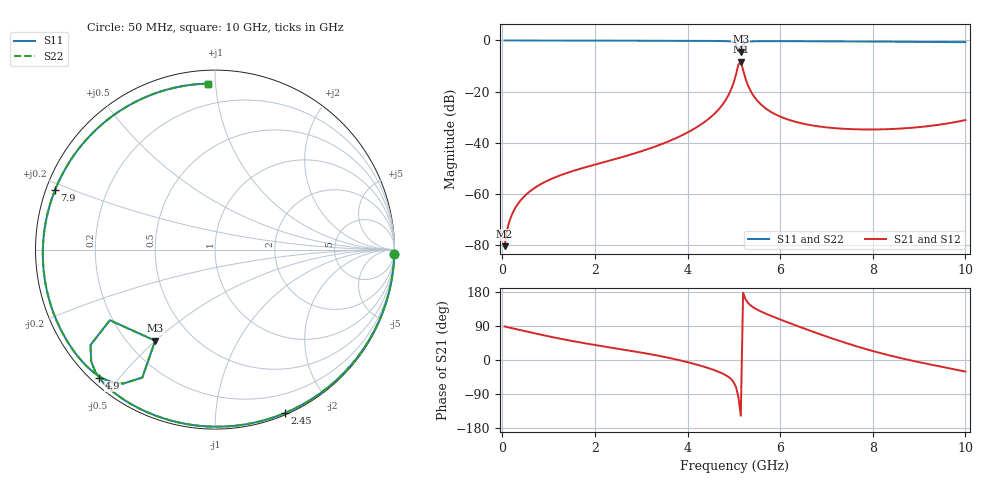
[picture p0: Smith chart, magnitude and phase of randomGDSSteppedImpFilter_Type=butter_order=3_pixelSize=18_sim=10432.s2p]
! freq	dB(S11)	phase(S11)	dB(S12)	phase(S12)
!  dB(S21)	phase(S21)	dB(S22)	phase(S22)
!S-par simulation data
#  GHz  S  DB  R 50
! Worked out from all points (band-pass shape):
!   200 points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, 50 MHz to 10 GHz, reference 50 ohm
!   highest |S21| = -8.31 dB at 5.15 GHz (marker M1); lowest = -80.5 dB at 50 MHz (marker M2)
!   |S21| within 3 dB of the highest: 5.074 GHz to 5.197 GHz (123 MHz wide, 2.4 % of centre)
!   lowest |S11| = -4.3 dB at 5.15 GHz (marker M3), VSWR 4.09, Z = 15.5 - j24.9 ohm
!   |S11| at or under -10 dB: nowhere
!   |S22| runs from -4.3 to 0.0 dB; largest |S21 - S12| = 0
!   S11 on the Smith chart (normalised r, x): 50 MHz: 1, -80; 2.45 GHz: 0.02, -1.52; 4.9 GHz: 0.02, -0.45; 7.9 GHz: 0.03, +0.18; 10 GHz: 0.07, +0.96
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0.05  -0.00 -1.4  -80.50 88.4  -80.50 88.4  -0.00 -1.4
0.1  -0.01 -2.8  -74.48 87.1  -74.48 87.1  -0.01 -2.8
0.2  -0.01 -5.7  -68.47 84.3  -68.47 84.3  -0.01 -5.7
0.5  -0.02 -14.1  -60.56 75.8  -60.56 75.8  -0.02 -14.1
1  -0.03 -28.0  -54.67 62.5  -54.67 62.5  -0.03 -28.0
1.75  -0.06 -48.4  -49.85 44.8  -49.85 44.8  -0.06 -48.4
2.45  -0.08 -66.9  -46.36 30.6  -46.36 30.6  -0.08 -66.8
3.4  -0.12 -91.1  -40.85 10.6  -40.85 10.6  -0.12 -91.1
4.4  -0.17 -116.3  -31.48 -19.4  -31.48 -19.4  -0.17 -116.3
4.9  -0.33 -132.0  -20.84 -46.2  -20.84 -46.2  -0.33 -132.0
5.05  -1.18 -142.6  -13.09 -72.5  -13.09 -72.5  -1.17 -142.5
5.1  -3.03 -146.1  -9.36 -99.5  -9.36 -99.5  -3.03 -146.1
5.15  -4.34 -123.3  -8.31 -147.2  -8.31 -147.2  -4.33 -123.3
5.2  -1.73 -119.6  -11.51 177.6  -11.51 177.6  -1.73 -119.6
5.25  -0.86 -124.5  -14.79 160.9  -14.79 160.9  -0.86 -124.5
5.4  -0.37 -133.1  -20.94 140.6  -20.94 140.6  -0.37 -133.1
5.6  -0.29 -139.9  -25.29 127.2  -25.29 127.2  -0.29 -139.9
6.7  -0.32 -168.6  -33.28 75.0  -33.28 75.0  -0.32 -168.5
7.9  -0.44 159.7  -34.84 27.2  -34.84 27.2  -0.44 159.7
8.35  -0.48 146.8  -34.70 12.5  -34.70 12.5  -0.48 146.8
9.25  -0.58 118.6  -33.42 -12.0  -33.42 -12.0  -0.58 118.7
10  -0.67 92.5  -31.16 -30.5  -31.16 -30.5  -0.67 92.5
